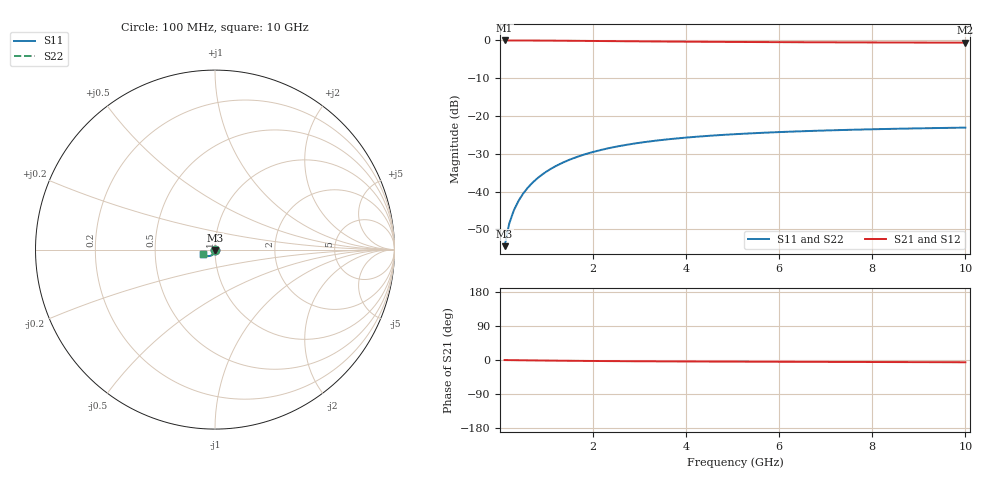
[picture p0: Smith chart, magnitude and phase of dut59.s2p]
! Touchstone file exported from HFSS 2024.1.0
!  File:  C:/UserFiles/LocalFiles/RDL_TSV_Batchsim/temp_TSV1_59_1779372751.aedt
!  Generated:  10:18:05 PM May 21, 2026
!  Design:  TSV1
!  Project:  temp_TSV1_59_1779372751
!  Setup:  Setup1
!  Solution:  Sweep
! Variables:
!  dtsv = 12.96um
!  hbump = 3um
!  htsv = 92.33um
!  lrdl = 252.1521522um
!  p = 40
!  p1 = 44.68um
!  t = 500um
!  trdl = 3um
!  wrdl = 24.89489489um
# GHz S MA R 50.000000
! Terminal data exported
! Port[1] = TSV22_T1
! Port[2] = TSV22_T2
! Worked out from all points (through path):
!   100 points, 100 MHz to 10 GHz, reference 50 ohm
!   highest |S21| = 0.00 dB at 100 MHz (marker M1); lowest = -0.6 dB at 10 GHz (marker M2)
!   lowest |S11| = -54.4 dB at 100 MHz (marker M3), VSWR 1.00, Z = 50 - j0.19 ohm
!   |S11| at or under -10 dB: start of sweep to end of sweep
!   |S22| runs from -54.4 to -23.1 dB; largest |S21 - S12| = 7.1e-15
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0.1  0.001899 -88.5  0.9998 -0.2  0.9998 -0.2  0.001899 -88.5
! Gamma 0 0 0 0
! Port Impedance 50 0 50 0
0.2  0.003797 -91.4  0.9997 -0.3  0.9997 -0.3  0.003797 -91.4
0.3  0.005693 -93.4  0.9994 -0.5  0.9994 -0.5  0.005693 -93.4
0.4  0.007582 -95.2  0.999 -0.6  0.999 -0.6  0.007582 -95.2
0.5  0.009457 -96.8  0.9985 -0.8  0.9985 -0.8  0.009457 -96.8
0.6  0.01131 -98.5  0.998 -0.9  0.998 -0.9  0.01131 -98.5
0.7  0.01314 -100.1  0.9974 -1.1  0.9974 -1.1  0.01314 -100.1
0.8  0.01494 -101.7  0.9967 -1.2  0.9967 -1.2  0.01494 -101.7
0.9  0.01671 -103.2  0.9959 -1.3  0.9959 -1.3  0.01671 -103.2
1.1  0.02014 -106.2  0.9941 -1.6  0.9941 -1.6  0.02014 -106.2
1.4  0.02497 -110.4  0.9911 -2.0  0.9911 -2.0  0.02497 -110.4
1.6  0.02798 -113.0  0.989 -2.2  0.989 -2.2  0.02798 -113.0
1.8  0.03081 -115.6  0.9867 -2.4  0.9867 -2.4  0.03081 -115.6
2.1  0.03472 -119.1  0.9832 -2.7  0.9832 -2.7  0.03472 -119.1
2.5  0.03935 -123.4  0.9786 -3.0  0.9786 -3.0  0.03935 -123.4
2.9  0.04336 -127.2  0.9741 -3.3  0.9741 -3.3  0.04336 -127.2
3.4  0.04763 -131.5  0.9689 -3.6  0.9689 -3.6  0.04763 -131.5
4.2  0.0531 -137.1  0.9617 -4.0  0.9617 -4.0  0.0531 -137.1
5.1  0.05777 -142.2  0.955 -4.3  0.955 -4.3  0.05777 -142.2
6.7  0.06358 -149.1  0.9462 -4.9  0.9462 -4.9  0.06358 -149.1
8.4  0.06764 -154.5  0.9396 -5.4  0.9396 -5.4  0.06764 -154.5
10  0.07028 -158.4  0.9352 -6.0  0.9352 -6.0  0.07028 -158.4
